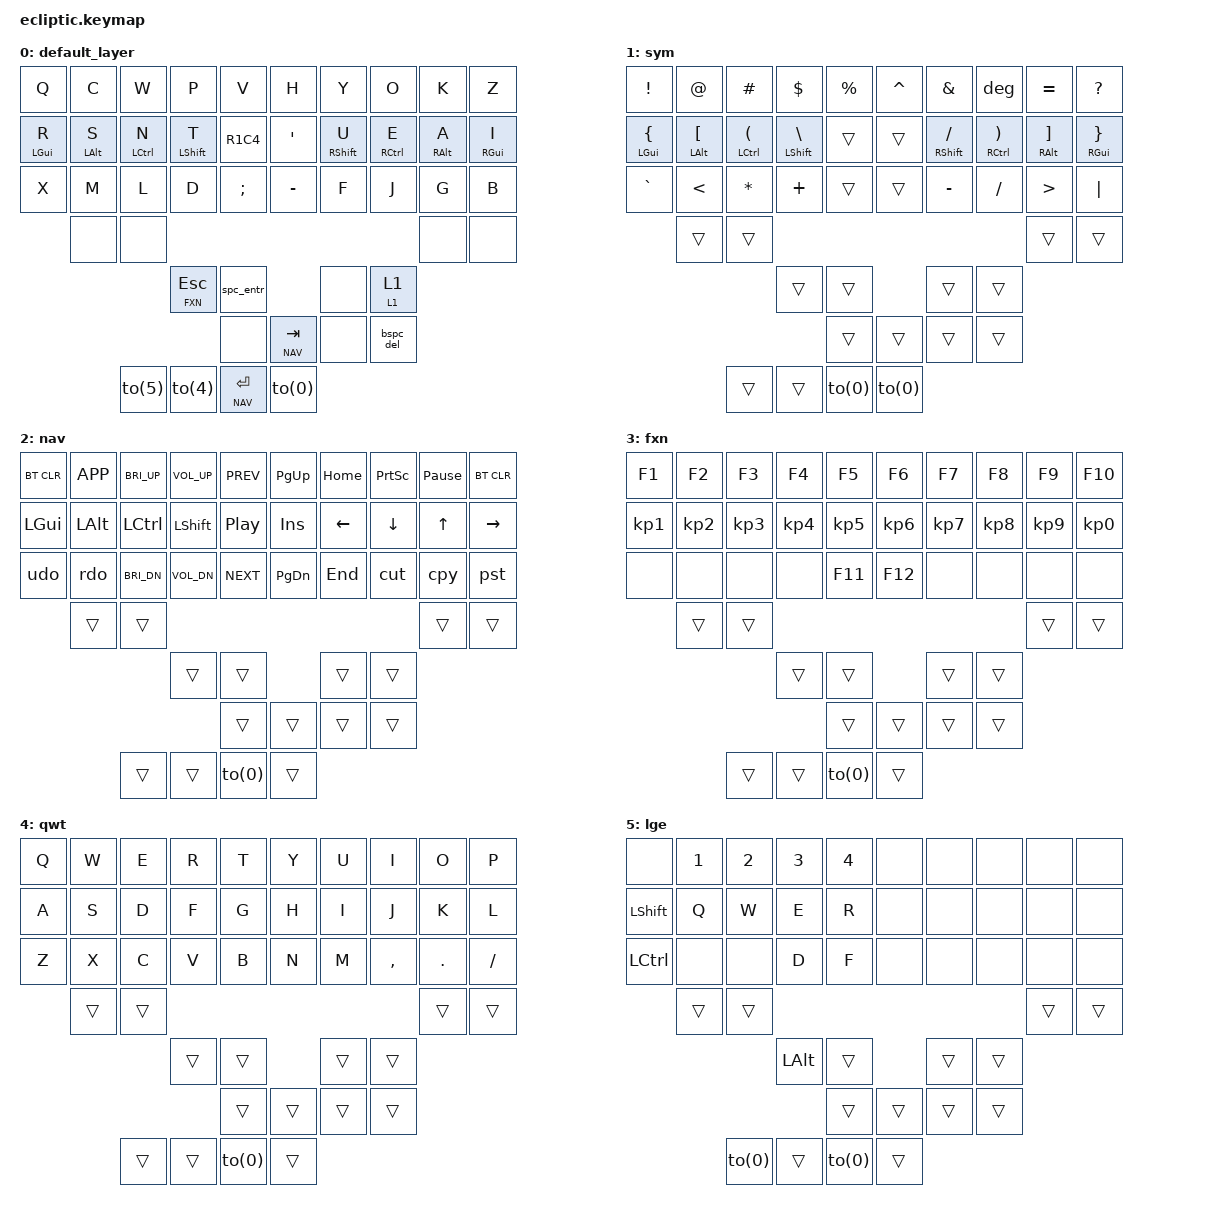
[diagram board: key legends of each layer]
#include <behaviors.dtsi>
#include <dt-bindings/zmk/keys.h>
#include <dt-bindings/zmk/bt.h>

#define DEFAULT 0
#define SYM   	1
#define NAV   	2
#define FXN	3
#define QWT	4
#define LGE	5
// Would love to have a greek layer :(

/ {
	macros {
		deg: deg {
			label = "deg";
			compatible = "zmk,behavior-macro";
			#binding-cells = <0>;
			bindings
				= <&macro_release &kp LSHFT>
				, <&macro_press   &kp LALT>
				, <&macro_tap     &kp KP_N0 &kp KP_N1 &kp KP_N7 &kp KP_N6>
				, <&macro_release &kp LALT>
				;
		};
		cut: cut {
			label = "cut";
			compatible = "zmk,behavior-macro";
			#binding-cells = <0>;
			bindings
				= <&macro_press   &kp LCTRL>
				, <&macro_tap     &kp X>
				, <&macro_release &kp LCTRL>
				;
		};
		cpy: cpy {
			label = "cpy";
			compatible = "zmk,behavior-macro";
			#binding-cells = <0>;
			bindings
				= <&macro_press   &kp LCTRL>
				, <&macro_tap     &kp C>
				, <&macro_release &kp LCTRL>
				;
		};
		pst: pst {
			label = "pst";
			compatible = "zmk,behavior-macro";
			#binding-cells = <0>;
			bindings
				= <&macro_press   &kp LCTRL>
				, <&macro_tap     &kp V>
				, <&macro_release &kp LCTRL>
				;
		};
		udo: udo {
			label = "udo";
			compatible = "zmk,behavior-macro";
			#binding-cells = <0>;
			bindings
				= <&macro_press   &kp LCTRL>
				, <&macro_tap     &kp Z>
				, <&macro_release &kp LCTRL>
				;
		};
			rdo: rdo {
			label = "rdo";
			compatible = "zmk,behavior-macro";
			#binding-cells = <0>;
			bindings
				= <&macro_press   &kp LCTRL>
				, <&macro_tap     &kp Y>
				, <&macro_release &kp LCTRL>
				;
		};
		th: th {
			label = "th";
			compatible = "zmk,behavior-macro";
			#binding-cells = <0>;
			bindings
				= <&macro_tap     &kp T>
				, <&macro_release &kp RSHFT>
				, <&macro_tap     &kp H>
				;
		};
		wh: wh {
			label = "wh";
			compatible = "zmk,behavior-macro";
			#binding-cells = <0>;
			bindings
				= <&macro_tap     &kp W>
				, <&macro_release &kp RSHFT>
				, <&macro_tap     &kp H>
				;
		};
		ch: ch {
			label = "ch";
			compatible = "zmk,behavior-macro";
			#binding-cells = <0>;
			bindings
				= <&macro_tap     &kp C>
				, <&macro_release &kp RSHFT>
				, <&macro_tap     &kp H>
				;
		};
		sh: sh {
			label = "sh";
			compatible = "zmk,behavior-macro";
			#binding-cells = <0>;
			bindings
				= <&macro_tap     &kp S>
				, <&macro_release &kp RSHFT>
				, <&macro_tap     &kp H>
				;
		};
		ph: ph {
			label = "ph";
			compatible = "zmk,behavior-macro";
			#binding-cells = <0>;
			bindings
				= <&macro_tap     &kp P>
				, <&macro_release &kp RSHFT>
				, <&macro_tap     &kp H>
				;
		};
		gh: gh {
			label = "gh";
			compatible = "zmk,behavior-macro";
			#binding-cells = <0>;
			bindings
				= <&macro_tap     &kp G>
				, <&macro_release &kp RSHFT>
				, <&macro_tap     &kp H>
				;
		};
		ing: ing {
			label = "ing";
			compatible = "zmk,behavior-macro";
			#binding-cells = <0>;
			bindings
				= <&macro_tap     &kp I &kp N &kp G>
				;
		};
	};
	combos {
		compatible = "zmk,combos";
		combo_ch {
			timeout-ms = <30>;
			key-positions = <1 12>;
			bindings = <&ch>;
			};
		combo_wh {
			timeout-ms = <30>;
			key-positions = <2 13>;
			bindings = <&wh>;
			};
		combo_ph {
			timeout-ms = <30>;
			key-positions = <3 12>;
			bindings = <&ph>;
			};
		combo_sh {
			timeout-ms = <30>;
			key-positions = <11 12>;
			bindings = <&sh>;
			};
		combo_th {
			timeout-ms = <30>;
			key-positions = <12 13>;
			bindings = <&th>;
			};
		combo_gh {
			timeout-ms = <30>;
			key-positions = <17 28>;
			bindings = <&gh>;
			};
		combo_ing {
			timeout-ms = <30>;
			key-positions = <18 19>;
			bindings = <&ing>;
			};
	};
	behaviors {
		mo_tog: behavior_mo_tog {
			compatible = "zmk,behavior-hold-tap";
			label = "mo_tog";
			#binding-cells = <2>;
			flavor = "hold-preferred";
			tapping-term-ms = <200>;
			bindings = <&mo>, <&tog>;
		};
		R1C4: R1C4 {								// . ,
			compatible = "zmk,behavior-mod-morph";
			label = "R1C4";
			#binding-cells = <0>;
			bindings = <&kp PERIOD>, <&kp COMMA>;
			mods = <(MOD_LSFT|MOD_RSFT)>;
		};	
		R0C7: R0C7 {								// 8 deg
			compatible = "zmk,behavior-mod-morph";
			label = "R0C7";
			#binding-cells = <0>;
			bindings = <&kp KP_N8>, <&deg>;
			mods = <(MOD_LSFT|MOD_RSFT)>;
		};	
		R0C8: R0C8 {								// 9 =
			compatible = "zmk,behavior-mod-morph";
			label = "R0C8";
			#binding-cells = <0>;
			bindings = <&kp KP_N9>, <&kp EQUAL>;
			mods = <(MOD_LSFT|MOD_RSFT)>;
		};	
			R0C9: R0C9 {							// 0 ?
			compatible = "zmk,behavior-mod-morph";
			label = "R0C9";
			#binding-cells = <0>;
			bindings = <&kp KP_N0>, <&kp QMARK>;
			mods = <(MOD_LSFT|MOD_RSFT)>;
		};
		spc_entr: spc_entr {							// SPACE ENTER
			compatible = "zmk,behavior-mod-morph";
			label = "spc_entr";
			#binding-cells = <0>;
			bindings = <&kp SPACE>, <&kp ENTER>;
			mods = <(MOD_LSFT|MOD_RSFT)>;
		};
		bspc_del: bspc_del {							// BSPC DEL
			compatible = "zmk,behavior-mod-morph";
			label = "bspc_del";
			#binding-cells = <0>;
			bindings = <&kp BSPC>, <&kp DEL>;
			mods = <(MOD_LSFT|MOD_RSFT)>;
		};
		R3C1: R3C1 {								// I want this to be bspc, del, or layer
			compatible = "zmk,behavior-hold-tap";
		    	label = "R3C1";
		    	#binding-cells = <2>;
		    	bindings = <&mo>, <&spc_entr>;
		    	tapping-term-ms = <200>;
		};
		R3C5: R3C5 {								// I want this to be bspc, del, or layer
			compatible = "zmk,behavior-hold-tap";
		    	label = "R3C5";
		    	#binding-cells = <2>;
		    	bindings = <&mo>, <&bspc_del>;
		    	tapping-term-ms = <200>;
		};
		hm: balanced_homerow_mods {
			compatible = "zmk,behavior-hold-tap";
			label = "HOMEROW_MODS";
			#binding-cells = <2>;
			tapping-term-ms = <200>;    // <---[[moderate duration, was 200]]
			quick-tap-ms = <50>;
			flavor = "balanced";
			bindings = <&kp>, <&kp>;
		};
	    };

	keymap {
		compatible = "zmk,keymap";

        default_layer {
// -------------------------------------------------------------------------------------------------------------------------
// |    Q    |    C    |    W    |    P    |    V    |                   |    H    |    Y    |    O    |    K    |    Z    |
// |    R    |    S    |    N    |    T    |    .    |                   |    '    |    U    |    E    |    A    |    I    |
// |    X    |    M    |    L    |    D    |    ;    |                   |    -    |    F    |    J    |    G    |    B    |
//           |         |         |                                                           |         |         |
//                               |   ESC   |  SPACE  |                   |    x    |  ENTER  |
//                                         |         |  LSHFT  |    x    |  BSPC   |
//                                         |         |         |         |  layer  |
            bindings = <
&kp Q		&kp C		&kp W		&kp P		&kp V			&kp H		&kp Y		&kp O		&kp K		&kp Z
&hm LGUI R	&hm LALT S	&hm LCTRL N	&hm LSHFT T	&R1C4			&kp APOS	&hm RSHFT U	&hm RCTRL E	&hm RALT A	&hm RGUI I
&kp X		&kp M		&kp L		&kp D		&kp SEMI		&kp MINUS	&kp F		&kp J		&kp G		&kp B
		&none		&none                                                                  			&none		&none
                               	&lt FXN ESC	&spc_entr						&none		&mo_tog 1 1
                                           	&none		&lt NAV TAB		&none		&bspc_del
						&to(5)		&to(4)			&lt NAV ENTER	&to(0)     
            >;
        };

	// Symbolic layer
        sym {
			bindings = <
&kp EXCL	&kp AT		&kp HASH	&kp DLLR	&kp PRCNT		&kp CARET	&kp AMPS	&deg     	&kp EQUAL     	&kp QMARK
&hm LGUI LBRC 	&hm LALT LBKT	&hm LCTRL LPAR	&hm LSHFT BSLH	&trans			&trans		&hm RSHFT FSLH	&hm RCTRL RPAR	&hm RALT RBKT	&hm RGUI RBRC
&kp GRAVE 	&kp LT		&kp ASTRK	&kp PLUS	&trans			&trans 		&kp MINUS	&kp FSLH	&kp GT		&kp PIPE
		&trans		&trans											&trans  	&trans
				&trans    	&trans							&trans		&trans
						&trans		&trans			&trans		&trans
						&trans		&trans			&to(0)		&to(0)
            >;
        };

	// Navigation layer
        nav {
            bindings = <
&bt BT_CLR	&kp K_APP	&kp C_BRI_UP	&kp C_VOL_UP	&kp C_PREV              &kp PG_UP	&kp HOME	&kp PSCRN 	&kp PAUSE_BREAK	&bt BT_CLR
&kp LGUI	&kp LALT	&kp LCTRL	&kp LSHFT	&kp C_PP                &kp INS		&kp LEFT	&kp DOWN  	&kp UP		&kp RIGHT  
&udo		&rdo		&kp C_BRI_DN	&kp C_VOL_DN	&kp C_NEXT              &kp PG_DN	&kp END		&cut		&cpy		&pst
		&trans		&trans											&trans		&trans
				&trans		&trans							&trans		&trans
						&trans		&trans			&trans		&trans
						&trans		&trans			&to(0)		&trans
            >;
        };
		
	// Funco-numeric key layer
		fxn {
            bindings = <
    &kp F1	&kp F2		&kp F3    	&kp F4		&kp F5        		&kp F6    	&kp F7		&kp F8    	&kp F9		&kp F10 
    &kp KP_N1	&kp KP_N2	&kp KP_N3  	&kp KP_N4	&kp KP_N5		&kp KP_N6	&kp KP_N7     	&kp KP_N8 	&kp KP_N9	&kp KP_N0  
    &none     	&none  		&none 	  	&none 		&kp F11         	&kp F12 	&none		&none		&none		&none    
              	&trans    	&trans                                                                			&trans		&trans
                                &trans		&trans                        				&trans    	&trans
                                            	&trans 	 	&trans   		&trans    	&trans
                                            	&trans   	&trans     		&to(0)    	&trans
            >;
        };
		
	// QWERTY layer for plebs
		qwt {
            bindings = <
    &kp Q     &kp W    &kp E     &kp R     &kp T                      	  &kp Y     &kp U     &kp I     &kp O     &kp P
	&kp A     &kp S    &kp D     &kp F     &kp G                       	  &kp H     &kp I     &kp J     &kp K     &kp L
    &kp Z     &kp X    &kp C     &kp V     &kp B                       	  &kp N     &kp M     &kp COMMA &kp PERIOD &kp FSLH
              &trans    &trans                                                                &trans    &trans
                                  &trans    &trans                        &trans    &trans
                                            &trans 	 &trans   	&trans    &trans
                                            &trans   &trans     &to(0)    &trans
            >;
        };
		
	// League of Legends layer
		lge {
            bindings = <
    &none     &kp N1   &kp N2    &kp N3    &kp N4                      	  &none		&none	  &none	    &none	  &none
	&kp LSHFT &kp Q    &kp W     &kp E     &kp R                      	  &none		&none	  &none	    &none	  &none
    &kp LCTRL &none    &none     &kp D     &kp F                      	  &none		&none	  &none	    &none	  &none
              &trans   &trans                                                                 &trans    &trans
                                  &kp LALT  &trans                        &trans    &trans
                                            &trans 	 &trans   	&trans    &trans
                                            &to(0)   &trans     &to(0)    &trans
            >;
        };
    };
};

/*
	// trans layer
		trans {
            bindings = <
&trans		&trans		&trans		&trans		&trans			&none		&none		&none		&none		&none
&trans		&trans		&trans		&trans		&trans			&none		&none		&none		&none		&none
&trans 		&trans		&trans		&trans		&trans			&none		&none		&none		&none		&none
		&trans		&trans											&trans		&trans
				&trans		&trans							&trans		&trans
                                            	&trans 	 	&trans			&trans		&trans
                                            	&to(0)   	&trans			&to(0)		&trans
            >;
        };
*/
